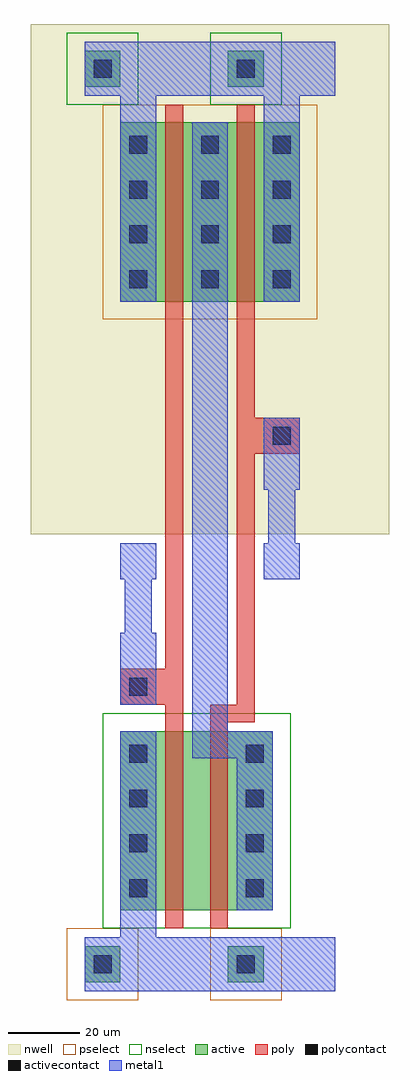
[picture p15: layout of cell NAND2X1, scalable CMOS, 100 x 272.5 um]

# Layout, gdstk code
import gdstk
lib = gdstk.Library(unit=1e-6, precision=1e-09)
def R(c, l, rs):  # rectangles x0, y0, x1, y1
    for r in rs: c.add(gdstk.rectangle(r[:2], r[2:], *l))
def A(c, l, x, y, w, h, nx, ny, dx, dy):  # array of equal rectangles
    R(c, l, [(x+i*dx, y+j*dy, x+i*dx+w, y+j*dy+h) for i in range(nx) for j in range(ny)])
nwell = (42, 0)
active = (43, 0)
pselect = (44, 0)
nselect = (45, 0)
poly = (46, 0)
polycontact = (47, 0)
activecontact = (48, 0)
metal1 = (49, 0)

nand2x1 = lib.new_cell('NAND2X1')
R(nand2x1, nwell, [(-20,120,80,262.5)])
R(nand2x1, active, [(-5,-5,5,5), (35,-5,45,5), (5,15,47.5,65), (5,185,55,235), (-5,245,5,255), (35,245,45,255)])
R(nand2x1, pselect, [(-10,-10,10,10), (30,-10,50,10), (0,180,60,240)])
R(nand2x1, nselect, [(0,10,52.5,70), (-10,240,10,260), (30,240,50,260)])
R(nand2x1, poly, [(17.5,10,22.5,72.5), (30,10,35,67.5), (30,67.5,42.5,72.5), (5,72.5,22.5,82.5), (37.5,72.5,42.5,142.5), (17.5,82.5,22.5,240), (37.5,142.5,55,152.5), (37.5,152.5,42.5,240)])
R(nand2x1, polycontact, [(7.5,75,12.5,80), (47.5,145,52.5,150)])
A(nand2x1, activecontact, 7.5, 18.75, 5, 5, 1, 4, 0, 12.5)
A(nand2x1, activecontact, 40, 18.75, 5, 5, 1, 4, 0, 12.5)
A(nand2x1, activecontact, 7.5, 188.75, 5, 5, 3, 4, 20, 12.5)
R(nand2x1, activecontact, [(-2.5,-2.5,2.5,2.5), (37.5,-2.5,42.5,2.5), (-2.5,247.5,2.5,252.5), (37.5,247.5,42.5,252.5)])
R(nand2x1, metal1, [(-5,-7.5,65,7.5), (5,7.5,15,65), (37.5,15,47.5,57.5), (25,57.5,47.5,65), (25,65,35,235), (5,72.5,15,92.5), (6.25,83.75,13.75,116.25), (5,107.5,15,117.5), (45,107.5,55,117.5), (46.25,108.75,53.75,141.25), (45,132.5,55,152.5), (5,185,15,242.5), (45,185,55,242.5), (-5,242.5,65,257.5)])

lib.write_gds('NAND2X1.gds')
